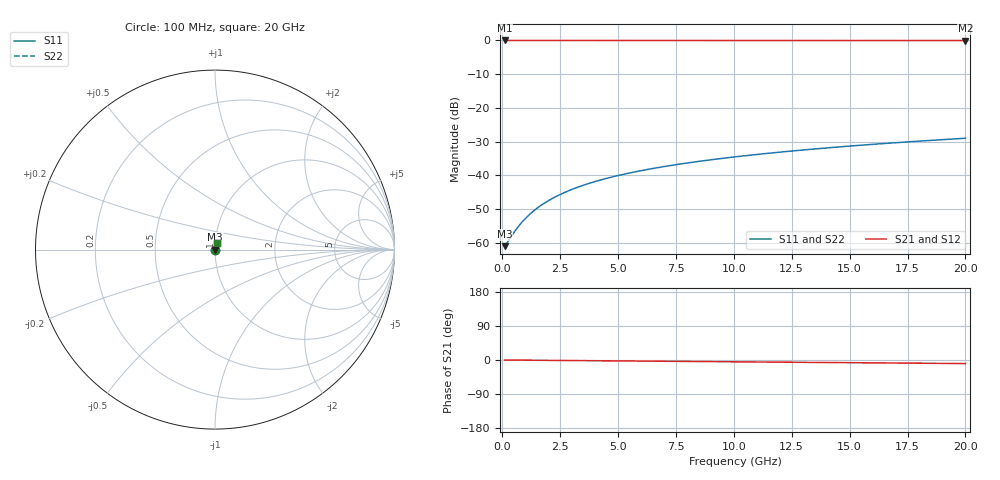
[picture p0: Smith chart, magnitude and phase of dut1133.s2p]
! Touchstone file exported from HFSS 2026.1.0
!  File:  C:/ffzhzh/LocalFiles/Ansys_Project_Files/temp_train_TSV_1133_1783191203_55132.aedt
!  Generated:  02:55:17 AM Jul  5, 2026
!  Design:  TSV
!  Project:  temp_train_TSV_1133_1783191203_55132
! Variables:
!  h_bsmrdl = 2um
!  h_ox = 20um
!  h_rdl = 5um
!  h_sub = 99.89um
!  h_tmrdl = 5um
!  h_tsv = 99.89um
!  h_via = 3um
!  l_bsmrdl = 300um
!  l_sub = 407.4um
!  l_tmrdl = 200um
!  m_sub = 200um
!  pitch = 20.66um
!  r_tsv = 3.7um
!  s_tmrdl = 10um
!  w_bsmrdl = 18um
!  w_sub = 500um
!  w_tmrdl = 12um
!  x_tsv_center1 = 206um
!  x_tsv_center2 = 524um
!  x_tsv_center3 = 736um
!  x_tsv_center4 = 1054um
!  x_tsv_center5 = 1266um
!  x_tsv_center6 = 1584um
# GHz S MA R 50.000000
! Terminal data exported
! Port[1] = TSV1_1_T1
! Port[2] = TSV1_1_T2
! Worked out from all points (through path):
!   200 points, 100 MHz to 20 GHz, reference 50 ohm
!   highest |S21| = -0.01 dB at 100 MHz (marker M1); lowest = 0.0 dB at 20 GHz (marker M2)
!   group delay of S21, straight-line fit = 1.3 ps
!   lowest |S11| = -61.0 dB at 100 MHz (marker M3), VSWR 1.00, Z = 50.1 + j0.0229 ohm
!   |S11| at or under -10 dB: start of sweep to end of sweep
!   |S22| runs from -61.0 to -29.0 dB; largest |S21 - S12| = 4.1e-15
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0.1  0.0008893 14.9  0.9991 -0.1  0.9991 -0.1  0.0008893 14.9
! Gamma 0 0 0 0
! Port Impedance 50 0 50 0
0.2  0.0009851 27.1  0.9991 -0.1  0.9991 -0.1  0.0009851 27.1
0.5  0.001416 48.9  0.9991 -0.2  0.9991 -0.2  0.001416 48.9
0.6  0.001581 53.3  0.9991 -0.3  0.9991 -0.3  0.001581 53.3
0.8  0.00193 59.8  0.999 -0.4  0.999 -0.4  0.00193 59.8
1.1  0.002483 66.0  0.999 -0.5  0.999 -0.5  0.002483 66.0
1.3  0.002863 68.7  0.999 -0.6  0.999 -0.6  0.002863 68.7
1.5  0.003248 70.7  0.999 -0.7  0.999 -0.7  0.003248 70.7
1.9  0.004026 73.4  0.9989 -0.9  0.9989 -0.9  0.004026 73.4
2.4  0.005001 75.4  0.9988 -1.2  0.9988 -1.2  0.005001 75.4
2.9  0.005971 76.5  0.9987 -1.4  0.9987 -1.4  0.005971 76.5
3.5  0.007121 77.2  0.9986 -1.7  0.9986 -1.7  0.007121 77.2
4.2  0.008441 77.7  0.9985 -2.0  0.9985 -2.0  0.008441 77.7
5  0.00992 77.9  0.9983 -2.4  0.9983 -2.4  0.00992 77.9
5.9  0.01155 77.9  0.9981 -2.8  0.9981 -2.8  0.01155 77.9
6.8  0.01315 77.9  0.9979 -3.3  0.9979 -3.3  0.01315 77.9
8.3  0.01577 77.7  0.9976 -4.0  0.9976 -4.0  0.01577 77.7
10.1  0.01886 77.5  0.9973 -4.8  0.9973 -4.8  0.01886 77.5
11.7  0.02157 77.1  0.997 -5.5  0.997 -5.5  0.02157 77.1
13.4  0.02444 76.8  0.9968 -6.3  0.9968 -6.3  0.02444 76.8
16.7  0.02996 75.9  0.9963 -7.9  0.9963 -7.9  0.02997 75.9
20  0.03543 74.8  0.9958 -9.4  0.9958 -9.4  0.03543 74.8
